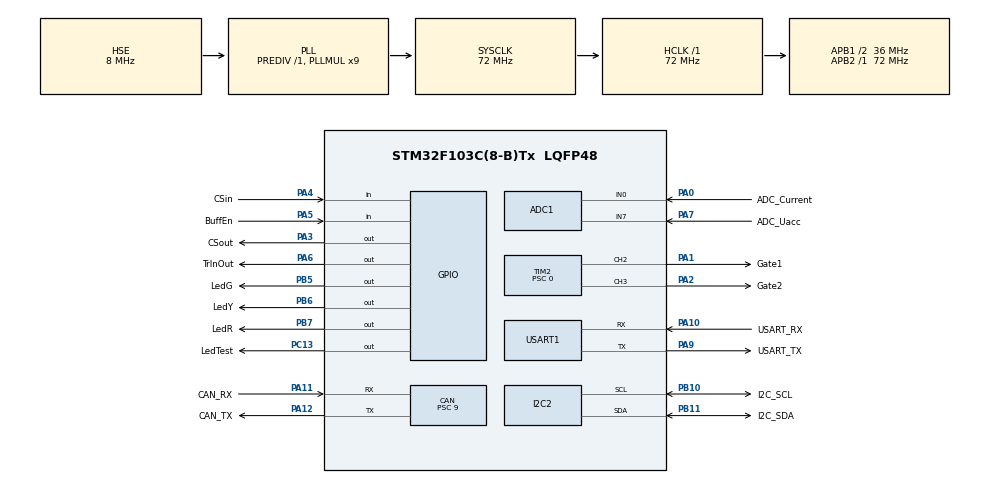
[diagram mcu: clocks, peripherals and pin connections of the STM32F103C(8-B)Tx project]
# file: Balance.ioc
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ADC1.Channel-6\#ChannelRegularConversion=ADC_CHANNEL_0
ADC1.Channel-7\#ChannelRegularConversion=ADC_CHANNEL_7
ADC1.EnableRegularConversion=ENABLE
ADC1.InjNumberOfConversion=0
ADC1.NbrOfConversion=2
ADC1.NbrOfConversionFlag=1
ADC1.Rank-6\#ChannelRegularConversion=1
ADC1.Rank-7\#ChannelRegularConversion=2
ADC1.SamplingTime-6\#ChannelRegularConversion=ADC_SAMPLETIME_13CYCLES_5
ADC1.SamplingTime-7\#ChannelRegularConversion=ADC_SAMPLETIME_13CYCLES_5
ADC1.master=1
CAN.BS1=CAN_BS1_4TQ
CAN.BS2=CAN_BS2_3TQ
CAN.CalculateTimeBit=2000
CAN.CalculateTimeQuantum=250.0
CAN.Mode=CAN_MODE_SILENT_LOOPBACK
CAN.NART=ENABLE
CAN.Prescaler=9
CAN.TXFP=ENABLE
Dma.ADC1.2.Direction=DMA_PERIPH_TO_MEMORY
Dma.ADC1.2.Instance=DMA1_Channel1
Dma.ADC1.2.MemDataAlignment=DMA_MDATAALIGN_HALFWORD
Dma.ADC1.2.MemInc=DMA_MINC_ENABLE
Dma.ADC1.2.Mode=DMA_CIRCULAR
Dma.ADC1.2.PeriphDataAlignment=DMA_PDATAALIGN_HALFWORD
Dma.ADC1.2.PeriphInc=DMA_PINC_DISABLE
Dma.ADC1.2.Priority=DMA_PRIORITY_MEDIUM
Dma.Request0=USART1_TX
Dma.Request1=USART1_RX
Dma.Request2=ADC1
Dma.USART1_RX.1.Direction=DMA_PERIPH_TO_MEMORY
Dma.USART1_RX.1.Instance=DMA1_Channel5
Dma.USART1_RX.1.MemDataAlignment=DMA_MDATAALIGN_BYTE
Dma.USART1_RX.1.MemInc=DMA_MINC_ENABLE
Dma.USART1_RX.1.Mode=DMA_NORMAL
Dma.USART1_RX.1.PeriphDataAlignment=DMA_PDATAALIGN_BYTE
Dma.USART1_RX.1.PeriphInc=DMA_PINC_DISABLE
Dma.USART1_RX.1.Priority=DMA_PRIORITY_LOW
Dma.USART1_TX.0.Direction=DMA_MEMORY_TO_PERIPH
Dma.USART1_TX.0.Instance=DMA1_Channel4
Dma.USART1_TX.0.MemDataAlignment=DMA_MDATAALIGN_BYTE
Dma.USART1_TX.0.MemInc=DMA_MINC_ENABLE
Dma.USART1_TX.0.Mode=DMA_NORMAL
Dma.USART1_TX.0.PeriphDataAlignment=DMA_PDATAALIGN_BYTE
Dma.USART1_TX.0.PeriphInc=DMA_PINC_DISABLE
Dma.USART1_TX.0.Priority=DMA_PRIORITY_LOW
Mcu.Family=STM32F1
Mcu.Name=STM32F103C(8-B)Tx
Mcu.Package=LQFP48
Mcu.UserConstants=USART_BAUD_RATE,115200
NVIC.DMA1_Channel1_IRQn=true\:0\:0\:false\:false\:true\:false
NVIC.DMA1_Channel4_IRQn=true\:0\:0\:false\:false\:true\:false
NVIC.DMA1_Channel5_IRQn=true\:0\:0\:false\:false\:true\:false
NVIC.PriorityGroup=NVIC_PRIORITYGROUP_4
NVIC.TIM4_IRQn=true\:0\:0\:false\:false\:true\:true
NVIC.USART1_IRQn=true\:0\:0\:false\:false\:true\:true
NVIC.USB_LP_CAN1_RX0_IRQn=true\:0\:0\:false\:false\:true\:true
PA0-WKUP.GPIO_Label=ADC_Current
PA0-WKUP.Signal=ADCx_IN0
PA1.GPIO_Label=Gate1
PA1.Signal=S_TIM2_CH2
PA10.GPIO_Label=USART_RX
PA10.GPIO_PuPd=GPIO_PULLUP
PA10.Mode=Asynchronous
PA10.Signal=USART1_RX
PA11.GPIO_Label=CAN_RX
PA11.GPIO_PuPd=GPIO_PULLUP
PA11.Mode=Master
PA11.Signal=CAN_RX
PA12.GPIO_Label=CAN_TX
PA12.Mode=Master
PA12.Signal=CAN_TX
PA13.GPIO_Label=SWDIO
PA13.Mode=Serial_Wire
PA13.Signal=SYS_JTMS-SWDIO
PA14.GPIO_Label=SWCLK
PA14.Mode=Serial_Wire
PA14.Signal=SYS_JTCK-SWCLK
PA2.GPIO_Label=Gate2
PA2.Signal=S_TIM2_CH3
PA3.GPIO_Label=CSout
PA3.GPIO_PuPd=GPIO_NOPULL
PA3.PinState=GPIO_PIN_SET
PA3.Signal=GPIO_Output
PA4.GPIO_Label=CSin
PA4.GPIO_PuPd=GPIO_PULLUP
PA4.Signal=GPIO_Input
PA5.GPIO_Label=BuffEn
PA5.GPIO_PuPd=GPIO_PULLUP
PA5.Signal=GPIO_Input
PA6.GPIO_Label=TrInOut
PA6.GPIO_PuPd=GPIO_PULLDOWN
PA6.Signal=GPIO_Output
PA7.GPIO_Label=ADC_Uacc
PA7.Signal=ADCx_IN7
PA9.GPIO_Label=USART_TX
PA9.Mode=Asynchronous
PA9.Signal=USART1_TX
PB10.GPIO_Label=I2C_SCL
PB10.Mode=I2C
PB10.Signal=I2C2_SCL
PB11.GPIO_Label=I2C_SDA
PB11.Mode=I2C
PB11.Signal=I2C2_SDA
PB5.GPIO_Label=LedG
PB5.GPIO_PuPd=GPIO_NOPULL
PB5.PinState=GPIO_PIN_SET
PB5.Signal=GPIO_Output
PB6.GPIO_Label=LedY
PB6.GPIO_PuPd=GPIO_NOPULL
PB6.PinState=GPIO_PIN_SET
PB6.Signal=GPIO_Output
PB7.GPIO_Label=LedR
PB7.GPIO_PuPd=GPIO_NOPULL
PB7.PinState=GPIO_PIN_SET
PB7.Signal=GPIO_Output
PC13-TAMPER-RTC.GPIO_Label=LedTest
PC13-TAMPER-RTC.PinState=GPIO_PIN_SET
PC13-TAMPER-RTC.Signal=GPIO_Output
PD0-OSC_IN.GPIO_Label=OSC_IN
PD0-OSC_IN.Mode=HSE-External-Oscillator
PD0-OSC_IN.Signal=RCC_OSC_IN
PD1-OSC_OUT.GPIO_Label=OSC_OUT
PD1-OSC_OUT.Mode=HSE-External-Oscillator
PD1-OSC_OUT.Signal=RCC_OSC_OUT
ProjectManager.HeapSize=0x200
ProjectManager.StackSize=0x400
ProjectManager.TargetToolchain=Other Toolchains (GPDSC)
RCC.ADCPresc=RCC_ADCPCLK2_DIV6
RCC.AHBFreq_Value=72000000
RCC.APB1CLKDivider=RCC_HCLK_DIV2
RCC.APB1Freq_Value=36000000
RCC.APB1TimFreq_Value=72000000
RCC.APB2Freq_Value=72000000
RCC.APB2TimFreq_Value=72000000
RCC.HCLKFreq_Value=72000000
RCC.PLLMUL=RCC_PLL_MUL9
RCC.PLLSourceVirtual=RCC_PLLSOURCE_HSE
RCC.SYSCLKFreq_VALUE=72000000
RCC.SYSCLKSource=RCC_SYSCLKSOURCE_PLLCLK
RCC.USBFreq_Value=72000000
SH.ADCx_IN0.0=ADC1_IN0,IN0
SH.ADCx_IN7.0=ADC1_IN7,IN7
SH.S_TIM2_CH2.0=TIM2_CH2,PWM Generation2 CH2
SH.S_TIM2_CH3.0=TIM2_CH3,PWM Generation3 CH3
TIM2.Channel-PWM\ Generation2\ CH2=TIM_CHANNEL_2
TIM2.Channel-PWM\ Generation3\ CH3=TIM_CHANNEL_3
TIM2.CounterMode=TIM_COUNTERMODE_CENTERALIGNED1
TIM2.OCPolarity_3=TIM_OCPOLARITY_LOW
TIM2.Period=360
TIM2.Prescaler=0
TIM2.Pulse-PWM\ Generation2\ CH2=180
TIM2.Pulse-PWM\ Generation3\ CH3=189
TIM4.Period=9999
TIM4.Prescaler=7199
USART1.BaudRate=USART_BAUD_RATE
USART1.VirtualMode=VM_ASYNC
VP_TIM4_VS_ClockSourceINT.Mode=Internal
board=custom

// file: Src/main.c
/* USER CODE BEGIN Header */
/**
  ******************************************************************************
  * @file           : main.c
  * @brief          : Main program body
  ******************************************************************************
  ** This notice applies to any and all portions of this file
  * that are not between comment pairs USER CODE BEGIN and
  * USER CODE END. Other portions of this file, whether
  * inserted by the user or by software development tools
  * are owned by their respective copyright owners.
  *
  * COPYRIGHT(c) 2019 STMicroelectronics
  *
  * Redistribution and use in source and binary forms, with or without modification,
  * are permitted provided that the following conditions are met:
  *   1. Redistributions of source code must retain the above copyright notice,
  *      this list of conditions and the following disclaimer.
  *   2. Redistributions in binary form must reproduce the above copyright notice,
  *      this list of conditions and the following disclaimer in the documentation
  *      and/or other materials provided with the distribution.
  *   3. Neither the name of STMicroelectronics nor the names of its contributors
  *      may be used to endorse or promote products derived from this software
  *      without specific prior written permission.
  *
  * THIS SOFTWARE IS PROVIDED BY THE COPYRIGHT HOLDERS AND CONTRIBUTORS "AS IS"
  * AND ANY EXPRESS OR IMPLIED WARRANTIES, INCLUDING, BUT NOT LIMITED TO, THE
  * IMPLIED WARRANTIES OF MERCHANTABILITY AND FITNESS FOR A PARTICULAR PURPOSE ARE
  * DISCLAIMED. IN NO EVENT SHALL THE COPYRIGHT HOLDER OR CONTRIBUTORS BE LIABLE
  * FOR ANY DIRECT, INDIRECT, INCIDENTAL, SPECIAL, EXEMPLARY, OR CONSEQUENTIAL
  * DAMAGES (INCLUDING, BUT NOT LIMITED TO, PROCUREMENT OF SUBSTITUTE GOODS OR
  * SERVICES; LOSS OF USE, DATA, OR PROFITS; OR BUSINESS INTERRUPTION) HOWEVER
  * CAUSED AND ON ANY THEORY OF LIABILITY, WHETHER IN CONTRACT, STRICT LIABILITY,
  * OR TORT (INCLUDING NEGLIGENCE OR OTHERWISE) ARISING IN ANY WAY OUT OF THE USE
  * OF THIS SOFTWARE, EVEN IF ADVISED OF THE POSSIBILITY OF SUCH DAMAGE.
  *
  ******************************************************************************
  */
/* USER CODE END Header */

#include "main.h"
#include "adc.h"
#include "can.h"
#include "dma.h"
#include "i2c.h"
#include "tim.h"
#include "usart.h"
#include "gpio.h"

/* USER CODE BEGIN Includes */
#include "memoryMA.h"
#include "transformer.h"
/* USER CODE END Includes */

/* USER CODE BEGIN PV */

char str[20];
/* USER CODE END PV */

void SystemClock_Config(void);
/* USER CODE BEGIN PFP */
void CAN_Send_Test();
void CAN_Send_Msg();
/* USER CODE END PFP */

int main(void)
{

  /* MCU Configuration--------------------------------------------------------*/

  /* Reset of all peripherals, Initializes the Flash interface and the Systick. */
  HAL_Init();

  /* Configure the system clock */
  SystemClock_Config();

  /* Initialize all configured peripherals */
  MX_GPIO_Init();
  MX_DMA_Init();
  MX_ADC1_Init();
  MX_CAN_Init();
  MX_I2C2_Init();
  MX_USART1_UART_Init();
  MX_TIM2_Init();
  MX_TIM4_Init();
  /* USER CODE BEGIN 2 */
	CAN_ConfigureFilter();
	HAL_CAN_Start(&hcan);

	UART_ReceiveIncomingPackageSize();
	startADCConversion();

  /* USER CODE END 2 */

  /* Infinite loop */
  /* USER CODE BEGIN WHILE */

	measurements.TemperatureAnode = 15;
	measurements.TemperatureCathode = -23;
	measurements.TemperatureVT1 = 115;
	while (true)
	{
		updateMeasurements();
		updateBalancing();
//		HAL_GPIO_TogglePin(LedTest_GPIO_Port, LedTest_Pin);
//		HAL_Delay(500);

//		sprintf(str, "T=%d\r\n", tmp);
//		UART_SendString(str);
//		CAN_Send_Test();
    /* USER CODE END WHILE */

	}
}

void SystemClock_Config(void)
{
  RCC_OscInitTypeDef RCC_OscInitStruct = {0};
  RCC_ClkInitTypeDef RCC_ClkInitStruct = {0};
  RCC_PeriphCLKInitTypeDef PeriphClkInit = {0};

  /**Initializes the CPU, AHB and APB busses clocks
  */
  RCC_OscInitStruct.OscillatorType = RCC_OSCILLATORTYPE_HSE;
  RCC_OscInitStruct.HSEState = RCC_HSE_ON;
  RCC_OscInitStruct.HSEPredivValue = RCC_HSE_PREDIV_DIV1;
  RCC_OscInitStruct.HSIState = RCC_HSI_ON;
  RCC_OscInitStruct.PLL.PLLState = RCC_PLL_ON;
  RCC_OscInitStruct.PLL.PLLSource = RCC_PLLSOURCE_HSE;
  RCC_OscInitStruct.PLL.PLLMUL = RCC_PLL_MUL9;
  if (HAL_RCC_OscConfig(&RCC_OscInitStruct) != HAL_OK)
  {
    Error_Handler();
  }
  /**Initializes the CPU, AHB and APB busses clocks
  */
  RCC_ClkInitStruct.ClockType = RCC_CLOCKTYPE_HCLK|RCC_CLOCKTYPE_SYSCLK
                              |RCC_CLOCKTYPE_PCLK1|RCC_CLOCKTYPE_PCLK2;
  RCC_ClkInitStruct.SYSCLKSource = RCC_SYSCLKSOURCE_PLLCLK;
  RCC_ClkInitStruct.AHBCLKDivider = RCC_SYSCLK_DIV1;
  RCC_ClkInitStruct.APB1CLKDivider = RCC_HCLK_DIV2;
  RCC_ClkInitStruct.APB2CLKDivider = RCC_HCLK_DIV1;

  if (HAL_RCC_ClockConfig(&RCC_ClkInitStruct, FLASH_LATENCY_2) != HAL_OK)
  {
    Error_Handler();
  }
  PeriphClkInit.PeriphClockSelection = RCC_PERIPHCLK_ADC;
  PeriphClkInit.AdcClockSelection = RCC_ADCPCLK2_DIV6;
  if (HAL_RCCEx_PeriphCLKConfig(&PeriphClkInit) != HAL_OK)
  {
    Error_Handler();
  }
}

void Error_Handler(void)
{
  /* USER CODE BEGIN Error_Handler_Debug */
  /* User can add his own implementation to report the HAL error return state */
	while (true)
	{
		HAL_GPIO_TogglePin(LedTest_GPIO_Port, LedTest_Pin);
		HAL_Delay(40);
		HAL_GPIO_TogglePin(LedTest_GPIO_Port, LedTest_Pin);
		HAL_Delay(40);
	}
  /* USER CODE END Error_Handler_Debug */
}

/************************ (C) COPYRIGHT STMicroelectronics *****END OF FILE****/
